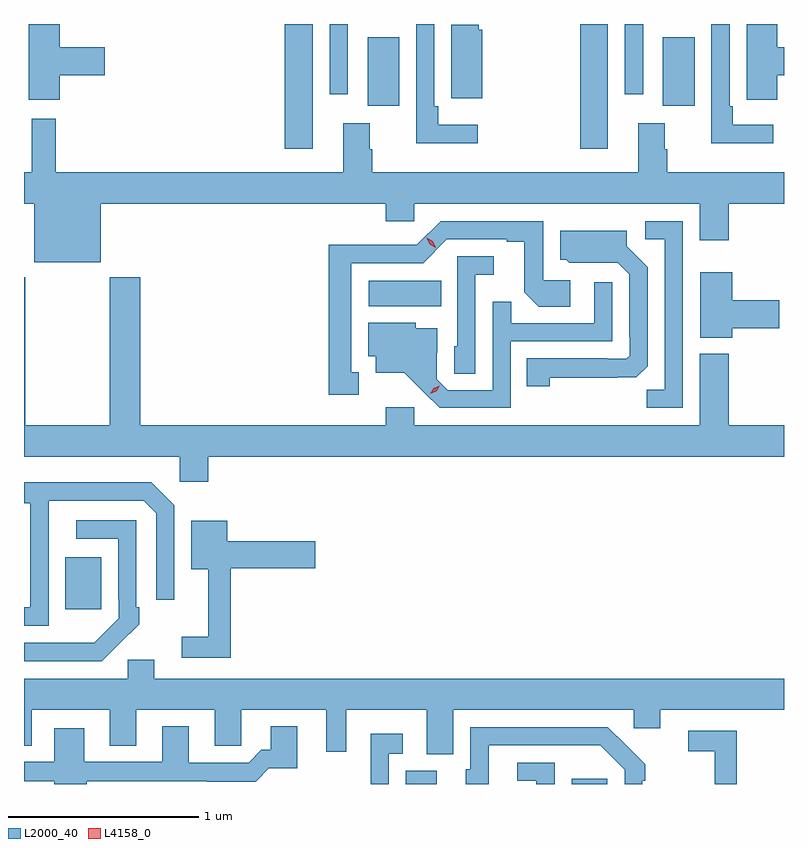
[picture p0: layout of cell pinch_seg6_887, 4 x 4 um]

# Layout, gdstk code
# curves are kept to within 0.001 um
import gdstk
lib = gdstk.Library(unit=1e-6, precision=1e-09)
def R(c, l, rs):  # rectangles x0, y0, x1, y1
    for r in rs: c.add(gdstk.rectangle(r[:2], r[2:], *l))
def P(c, l, *ps):  # polygons
    for p in ps: c.add(gdstk.Polygon(p, *l))
L2000_40 = (2000, 40)
L4158_0 = (4158, 0)

pinch_seg6_887 = lib.new_cell('pinch_seg6_887')
R(pinch_seg6_887, L2000_40, [(339.368,938.953,339.532,939.024), (340.241,938.953,340.429,938.98), (337.577,939.873,337.765,940.147), (339.174,941.468,339.554,941.602), (338.732,942.297,338.878,942.953), (340.286,942.297,340.432,942.953), (339.167,942.522,339.334,942.884), (340.721,942.522,340.888,942.884), (338.967,942.582,339.063,942.953), (340.521,942.582,340.617,942.953)])
P(pinch_seg6_887, L2000_40, [(337.547,942.683),(337.783,942.683),(337.783,942.83),(337.547,942.83),(337.547,942.953),(337.385,942.953),(337.385,942.555),(337.547,942.555)],
  [(339.748,942.424),(339.539,942.424),(339.539,942.52),(339.519,942.52),(339.519,942.953),(339.423,942.953),(339.423,942.326),(339.748,942.326)],
  [(341.302,942.424),(341.089,942.424),(341.089,942.52),(341.073,942.52),(341.073,942.953),(340.977,942.953),(340.977,942.326),(341.302,942.326)],
  [(341.324,942.683),(341.359,942.683),(341.359,942.83),(341.324,942.83),(341.324,942.951),(341.162,942.951),(341.162,942.667),(341.163,942.667),(341.163,942.555),(341.324,942.555)],
  [(339.772,942.924),(339.753,942.924),(339.753,942.949),(339.608,942.949),(339.608,942.563),(339.772,942.563)],
  [(337.762,942.008),(339.263,942.008),(339.263,941.915),(339.414,941.915),(339.414,942.008),(340.916,942.008),(340.916,941.814),(341.069,941.814),(341.069,942.008),(341.359,942.008),(341.359,942.172),(340.745,942.172),(340.745,942.293),(340.732,942.293),(340.732,942.43),(340.592,942.43),(340.592,942.172),(339.191,942.172),(339.191,942.293),(339.178,942.293),(339.178,942.43),(339.038,942.43),(339.038,942.172),(337.526,942.172),(337.526,942.454),(337.4,942.454),(337.4,942.172),(337.359,942.172),(337.359,942.008),(337.412,942.008),(337.412,941.699),(337.762,941.699)],
  [(340.827,941.916),(340.629,941.916),(340.629,941.82),(340.731,941.82),(340.731,941.027),(340.636,941.027),(340.636,940.932),(340.827,940.932)],
  [(339.121,941.121),(339.082,941.121),(339.082,941.694),(339.459,941.694),(339.585,941.82),(339.899,941.82),(339.899,941.808),(339.993,941.808),(339.993,941.54),(340.069,941.464),(340.234,941.464),(340.234,941.604),(340.092,941.604),(340.092,941.916),(339.552,941.916),(339.426,941.79),(339.204,941.79),(339.204,941.792),(338.964,941.792),(338.964,941.001),(339.121,941.001)],
  [(340.125,941.092),(340.582,941.093),(340.641,941.152),(340.641,941.674),(340.531,941.784),(340.531,941.866),(340.181,941.866),(340.181,941.712),(340.212,941.712),(340.228,941.696),(340.485,941.697),(340.545,941.637),(340.545,941.308),(340.548,941.308),(340.548,941.208),(340.53,941.19),(340.43,941.19),(340.43,941.193),(340.006,941.193),(340.006,941.046),(340.125,941.046)],
  [(339.735,941.633),(339.832,941.633),(339.832,941.73),(339.639,941.73),(339.639,941.256),(339.624,941.256),(339.624,941.113),(339.735,941.113)],
  [(341.086,941.351),(341.335,941.351),(341.335,941.498),(341.086,941.498),(341.086,941.647),(340.919,941.647),(340.919,941.303),(341.086,941.303)],
  [(338.33,940.676),(341.359,940.676),(341.359,940.84),(341.069,940.84),(341.069,941.218),(340.916,941.218),(340.916,940.84),(339.414,940.84),(339.414,940.936),(339.263,940.936),(339.263,940.84),(337.97,940.84),(337.97,941.62),(337.81,941.62),(337.81,940.84),(337.365,940.84),(337.365,941.62),(337.359,941.62),(337.359,940.676),(338.178,940.676),(338.178,940.545),(338.33,940.545)],
  [(339.921,941.283),(340.455,941.283),(340.455,941.593),(340.359,941.593),(340.359,941.379),(339.923,941.379),(339.923,941.492),(339.825,941.492),(339.825,941.025),(339.588,941.025),(339.531,941.082),(339.531,941.224),(339.535,941.224),(339.535,941.353),(339.42,941.353),(339.42,941.38),(339.17,941.38),(339.17,941.204),(339.209,941.204),(339.209,941.117),(339.361,941.117),(339.548,940.932),(339.921,940.932)],
  [(337.488,940.243),(337.489,940.443),(337.989,940.443),(338.055,940.377),(338.055,939.924),(338.151,939.924),(338.151,940.419),(338.03,940.54),(337.359,940.54),(337.359,940.43),(337.392,940.43),(337.392,939.882),(337.359,939.882),(337.359,939.786),(337.488,939.786)],
  [(337.859,939.691),(337.86,939.69),(337.965,939.795),(337.965,939.883),(337.95,939.883),(337.95,940.341),(337.635,940.341),(337.635,940.245),(337.854,940.245),(337.854,939.925),(337.857,939.925),(337.857,939.825),(337.729,939.697),(337.359,939.696),(337.359,939.6),(337.768,939.6)],
  [(338.447,940.088),(338.893,940.088),(338.893,940.23),(338.428,940.23),(338.428,940.339),(338.24,940.339),(338.24,940.082),(338.33,940.082),(338.33,939.727),(338.19,939.727),(338.19,939.618),(338.447,939.618)],
  [(339.619,939.344),(340.569,939.344),(340.569,939.246),(340.708,939.246),(340.708,939.344),(341.359,939.344),(341.359,939.508),(338.044,939.508),(338.044,939.606),(337.905,939.606),(337.905,939.508),(337.359,939.508),(337.359,939.154),(337.399,939.154),(337.399,939.344),(337.811,939.344),(337.811,939.154),(337.951,939.154),(337.951,939.344),(338.363,939.344),(338.363,939.154),(338.502,939.154),(338.502,939.344),(338.951,939.344),(338.951,939.123),(339.055,939.123),(339.055,939.344),(339.479,939.344),(339.479,939.109),(339.619,939.109)],
  [(337.688,938.968),(338.323,938.968),(338.323,938.966),(338.579,938.966),(338.648,939.035),(338.797,939.035),(338.797,939.256),(338.657,939.256),(338.657,939.133),(338.608,939.133),(338.541,939.066),(338.227,939.066),(338.227,939.256),(338.087,939.256),(338.087,939.069),(337.675,939.069),(337.675,939.247),(337.517,939.247),(337.517,939.069),(337.359,939.069),(337.359,938.968),(337.517,938.968),(337.517,938.953),(337.688,938.953)],
  [(339.805,939.156),(340.393,939.156),(340.521,939.027),(340.521,938.953),(340.614,938.953),(340.614,938.969),(340.629,938.969),(340.629,939.057),(340.432,939.252),(339.708,939.252),(339.708,939.03),(339.683,939.03),(339.683,938.953),(339.805,938.953)],
  [(341.111,939.234),(340.854,939.234),(340.854,939.126),(340.994,939.126),(340.994,938.953),(341.111,938.953)],
  [(339.279,939.111),(339.352,939.111),(339.352,939.217),(339.183,939.217),(339.183,938.953),(339.279,938.953)],
  [(340.152,939.066),(339.954,939.066),(339.954,938.97),(340.056,938.97),(340.056,938.953),(340.152,938.953)])
P(pinch_seg6_887, L4158_0, [(339.497,941.006),(339.497,941.007),(339.515,941.036),(339.546,941.05),(339.546,941.05),(339.546,941.05),(339.528,941.021),(339.497,941.006)],
  [(339.527,941.776),(339.495,941.795),(339.478,941.827),(339.478,941.828),(339.478,941.828),(339.51,941.809),(339.527,941.776),(339.527,941.776)])

lib.write_gds('pinch_seg6_887.gds')
